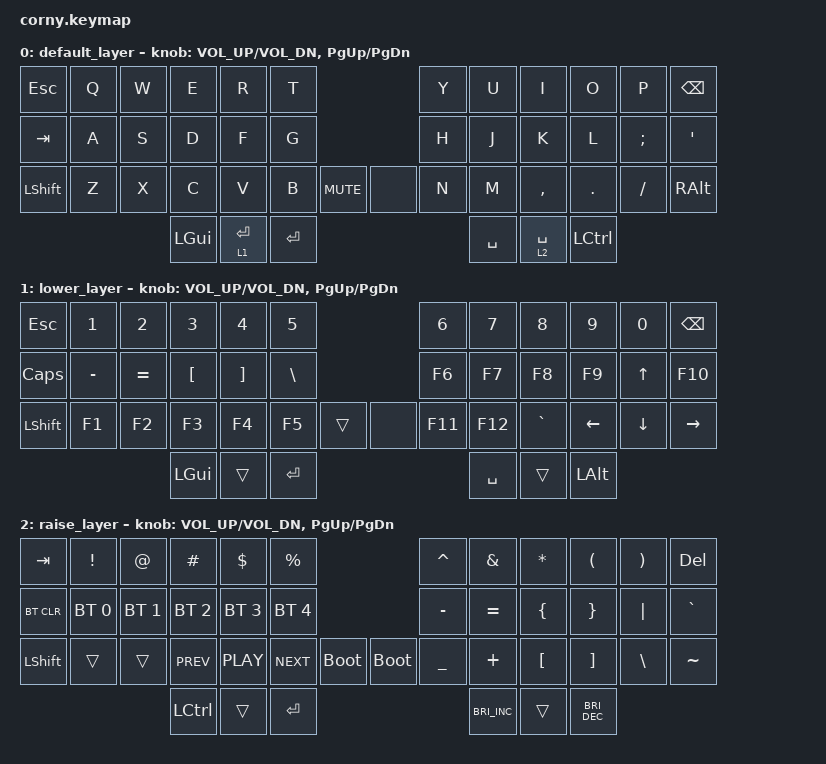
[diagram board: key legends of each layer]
#include <behaviors.dtsi>
#include <dt-bindings/zmk/keys.h>
#include <dt-bindings/zmk/bt.h>

/ {
    behaviors {
        td0: tap_dance_mod_tap {
            compatible = "zmk,behavior-tap-dance";
            label = "TAP_DANCE_MOD_TAP";
            #binding-cells = <0>;
            tapping-term-ms = <200>;
            bindings = <&mt LSHIFT CAPSLOCK>, <&kp LCTRL>, <&caps_word>;
        };
        
        lower_hold: lower_hold {
            compatible = "zmk,behavior-hold-tap";
            label = "LOWER_HOLD";
            #binding-cells = <2>;
            flavor = "hold-preferred";
            tapping-term-ms = <200>;
            quick-tap-ms = <125>;
            bindings = <&mo>, <&kp>;
        };
        
        raise_hold: raise_hold {
            compatible = "zmk,behavior-hold-tap";
            label = "RAISE_HOLD";
            #binding-cells = <2>;
            flavor = "hold-preferred";
            tapping-term-ms = <200>;
            quick-tap-ms = <125>;
            bindings = <&mo>, <&kp>;
        };
    };

    combos {
        compatible = "zmk,combos";
        
        soft_off {
            bindings = <&soft_off>;
            key-positions = <0 35>;
        };
        
        combo_studio_unlock {
            timeout-ms = <50>;
            key-positions = <0 1>;
            bindings = <&studio_unlock>;
        };
    };

    keymap {
        compatible = "zmk,keymap";

        default_layer {
            // -----------------------------------------------------------------------------------------
            // |  ESC |  Q  |  W  |  E  |  R  |  T  |                |  Y  |  U   |  I  |  O  |  P  | BKSP |
            // |  TAB |  A  |  S  |  D  |  F  |  G  |                |  H  |  J   |  K  |  L  |  ;  |  '   |
            // | SHFT |  Z  |  X  |  C  |  V  |  B  | MUTE |  | NONE |  N  |  M   |  ,  |  .  |  /  | RALT |
            //                    | GUI | LWR | ENT  |                | SPC | RSE  | CTRL|
            bindings = <
                &kp ESC    &kp Q  &kp W  &kp E     &kp R   &kp T                         &kp Y    &kp U   &kp I      &kp O    &kp P     &kp BSPC
                &kp TAB    &kp A  &kp S  &kp D     &kp F   &kp G                         &kp H    &kp J   &kp K      &kp L    &kp SEMI  &kp SQT
                &kp LSHFT  &kp Z  &kp X  &kp C     &kp V   &kp B   &kp C_MUTE    &none   &kp N    &kp M   &kp COMMA  &kp DOT  &kp FSLH  &kp RALT
                                         &kp LGUI  &lower_hold 1 RET  &kp RET             &kp SPC  &raise_hold 2 SPC   &kp LCTRL
            >;

            sensor-bindings = <&inc_dec_kp C_VOL_UP C_VOL_DN &inc_dec_kp PG_UP PG_DN>;
        };

        lower_layer {
            // -----------------------------------------------------------------------------------------
            // |  ESC |  1  |  2  |  3  |  4  |  5  |                |  6  |  7  |  8  |  9  |  0  | BKSP |
            // | CAPS |  -  |  =  |  [  |  ]  |  \  |                | F6  | F7  | F8  | F9  | UP  | F10  |
            // | SHFT | F1  | F2  | F3  | F4  | F5  | TRNS |  | NONE | F11 | F12 |  `  | LFT | DWN | RGT  |
            //                    | GUI |     | RET |                | SPC |     | ALT |
            bindings = <
                &kp ESC    &kp N1     &kp N2     &kp N3   &kp N4   &kp N5                         &kp N6   &kp N7   &kp N8     &kp N9    &kp N0    &kp BSPC
                &kp CAPS   &kp MINUS  &kp EQUAL  &kp LBKT &kp RBKT &kp BSLH                       &kp F6   &kp F7   &kp F8     &kp F9    &kp UP    &kp F10
                &kp LSHFT  &kp F1     &kp F2     &kp F3   &kp F4   &kp F5   &trans     &none      &kp F11  &kp F12  &kp GRAVE  &kp LEFT  &kp DOWN  &kp RIGHT
                                                 &kp LGUI &trans   &kp RET                        &kp SPC  &trans   &kp LALT
            >;

            sensor-bindings = <&inc_dec_kp C_VOL_UP C_VOL_DN &inc_dec_kp PG_UP PG_DN>;
        };

        raise_layer {
            // -----------------------------------------------------------------------------------------
            // |  TAB |  !  |  @  |  #  |  $  |  %  |                |  ^  |  &  |  *  |  (  |  )  | DEL  |
            // | BTCLR| BT1 | BT2 | BT3 | BT4 | BT5 |                |  -  |  =  |  {  |  }  | "|" |  `   |
            // | SHFT |     |     | PREV| PLAY| NEXT| BOOT |  | BOOT |  _  |  +  |  [  |  ]  |  \  |  ~   |
            //                    | CTRL|     | RET |                | BRI+|     | BRI-|
            bindings = <
                &kp TAB     &kp EXCL      &kp AT        &kp HASH     &kp DLLR     &kp PRCNT                        &kp CARET      &kp AMPS   &kp ASTRK    &kp LPAR  &kp RPAR  &kp DEL
                &bt BT_CLR  &bt BT_SEL 0  &bt BT_SEL 1  &bt BT_SEL 2 &bt BT_SEL 3 &bt BT_SEL 4                     &kp MINUS      &kp EQUAL  &kp LBRC     &kp RBRC  &kp PIPE  &kp GRAVE
                &kp LSHFT   &trans        &trans        &kp C_PREV   &kp C_PLAY   &kp C_NEXT   &bootloader &bootloader &kp UNDER      &kp PLUS   &kp LBKT     &kp RBKT  &kp BSLH  &kp TILDE
                                                        &kp LCTRL    &trans       &kp RET                           &kp C_BRI_INC  &trans     &kp C_BRI_DEC
            >;

            sensor-bindings = <&inc_dec_kp C_VOL_UP C_VOL_DN &inc_dec_kp PG_UP PG_DN>;
        };
    };
};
